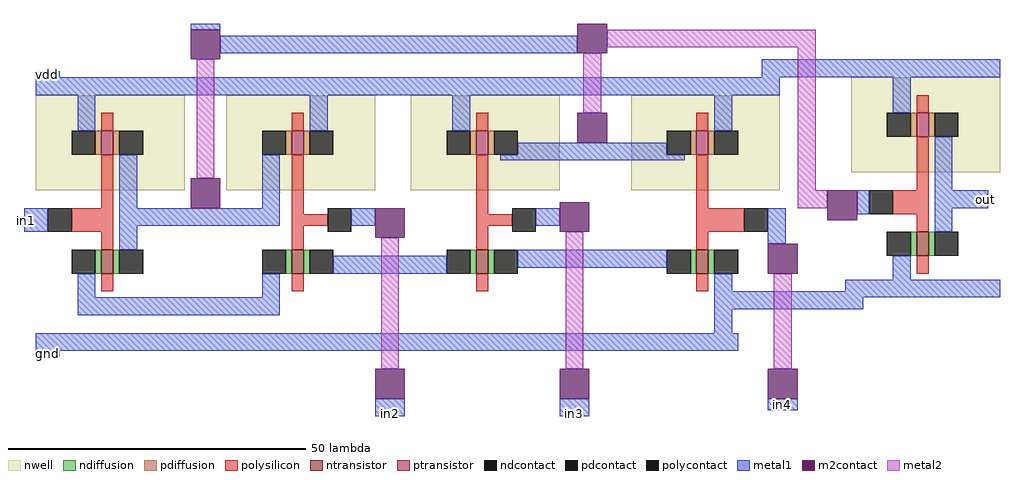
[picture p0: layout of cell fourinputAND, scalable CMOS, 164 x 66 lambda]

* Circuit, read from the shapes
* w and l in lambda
.subckt fourinputAND gnd in1 in2 in3 in4 out vdd
M1 not_0/in in1 n1 VSUBS nfet w=4 l=2
M2 n2 in2 n1 VSUBS nfet w=4 l=2
M3 n3 in3 n2 VSUBS nfet w=4 l=2
M4 gnd in4 n3 VSUBS nfet w=4 l=2
M5 out not_0/in gnd VSUBS nfet w=4 l=2
M6 not_0/in in1 vdd n4 pfet w=4 l=2
M7 vdd in2 not_0/in n5 pfet w=4 l=2
M8 not_0/in in3 vdd n6 pfet w=4 l=2
M9 vdd in4 not_0/in n7 pfet w=4 l=2
M10 out not_0/in vdd n8 pfet w=4 l=2
.ends

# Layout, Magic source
magic
tech scmos
<< metal1 >>
rect 61 121 65 122
rect 183 121 198 124
rect 59 95 60 99
rect 186 95 187 99
rect 220 99 221 102
rect 184 93 187 95
rect 197 85 199 87
rect 178 82 200 85
rect 61 74 65 75
rect 184 65 189 67
rect 118 64 123 65
rect 149 64 154 65
<< m2contact >>
rect 194 97 199 102
rect 184 88 189 93
rect 184 67 189 72
<< metal2 >>
rect 157 126 192 129
rect 189 102 192 126
rect 189 99 194 102
rect 185 72 188 88
use not  not_0
transform 1 0 198 0 1 105
box 0 -21 25 19
use fourinputNAND  fourinputNAND_0
transform 1 0 61 0 1 102
box -1 -37 125 28
<< labels >>
rlabel metal1 61 121 65 122 3 vdd
rlabel metal1 61 74 65 75 3 gnd
rlabel metal1 59 95 60 99 3 in1
rlabel metal1 118 64 123 65 1 in2
rlabel metal1 149 64 154 65 1 in3
rlabel metal1 184 65 189 67 1 in4
rlabel metal1 220 99 221 102 7 out
<< end >>

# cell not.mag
magic
tech scmos
<< nwell >>
rect 0 0 25 16
<< ntransistor >>
rect 11 -14 13 -10
<< ptransistor >>
rect 11 6 13 10
<< ndiffusion >>
rect 10 -14 11 -10
rect 13 -14 14 -10
<< pdiffusion >>
rect 10 6 11 10
rect 13 6 14 10
<< ndcontact >>
rect 6 -14 10 -10
rect 14 -14 18 -10
<< pdcontact >>
rect 6 6 10 10
rect 14 6 18 10
<< polysilicon >>
rect 11 10 13 13
rect 11 -3 13 6
rect 7 -7 13 -3
rect 11 -10 13 -7
rect 11 -17 13 -14
<< polycontact >>
rect 3 -7 7 -3
<< metal1 >>
rect 0 16 25 19
rect 7 10 10 16
rect 14 -3 17 6
rect 1 -7 3 -3
rect 14 -6 22 -3
rect 14 -10 17 -6
rect 7 -18 10 -14
rect 1 -21 25 -18
<< labels >>
rlabel metal1 0 16 25 19 5 vdd
rlabel metal1 17 -6 22 -3 1 out
rlabel metal1 1 -7 3 -3 3 in
rlabel metal1 1 -21 25 -18 1 gnd
<< end >>

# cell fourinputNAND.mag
magic
tech scmos
<< nwell >>
rect 0 0 25 16
rect 32 0 57 16
rect 63 0 88 16
rect 100 0 125 16
<< ntransistor >>
rect 11 -14 13 -10
rect 43 -14 45 -10
rect 74 -14 76 -10
rect 111 -14 113 -10
<< ptransistor >>
rect 11 6 13 10
rect 43 6 45 10
rect 74 6 76 10
rect 111 6 113 10
<< ndiffusion >>
rect 10 -14 11 -10
rect 13 -14 14 -10
rect 42 -14 43 -10
rect 45 -14 46 -10
rect 73 -14 74 -10
rect 76 -14 77 -10
rect 110 -14 111 -10
rect 113 -14 114 -10
<< pdiffusion >>
rect 10 6 11 10
rect 13 6 14 10
rect 42 6 43 10
rect 45 6 46 10
rect 73 6 74 10
rect 76 6 77 10
rect 110 6 111 10
rect 113 6 114 10
<< ndcontact >>
rect 6 -14 10 -10
rect 14 -14 18 -10
rect 38 -14 42 -10
rect 46 -14 50 -10
rect 69 -14 73 -10
rect 77 -14 81 -10
rect 106 -14 110 -10
rect 114 -14 118 -10
<< pdcontact >>
rect 6 6 10 10
rect 14 6 18 10
rect 38 6 42 10
rect 46 6 50 10
rect 69 6 73 10
rect 77 6 81 10
rect 106 6 110 10
rect 114 6 118 10
<< polysilicon >>
rect 11 10 13 13
rect 43 10 45 13
rect 74 10 76 13
rect 111 10 113 13
rect 11 -3 13 6
rect 6 -7 13 -3
rect 11 -10 13 -7
rect 43 -4 45 6
rect 43 -6 49 -4
rect 43 -10 45 -6
rect 74 -4 76 6
rect 111 -3 113 6
rect 74 -6 80 -4
rect 74 -10 76 -6
rect 111 -7 119 -3
rect 111 -10 113 -7
rect 11 -17 13 -14
rect 43 -17 45 -14
rect 74 -17 76 -14
rect 111 -17 113 -14
<< polycontact >>
rect 2 -7 6 -3
rect 49 -7 53 -3
rect 80 -7 84 -3
rect 119 -7 123 -3
<< metal1 >>
rect 26 27 31 28
rect 31 23 91 26
rect 0 16 125 19
rect 7 10 10 16
rect 46 10 49 16
rect 70 10 73 16
rect 114 10 117 16
rect 81 6 106 8
rect 14 -3 17 6
rect 38 -3 41 6
rect 78 5 109 6
rect -1 -7 2 -3
rect 14 -6 41 -3
rect 14 -10 17 -6
rect 53 -6 57 -3
rect 84 -6 88 -3
rect 123 -7 125 -3
rect 50 -14 69 -11
rect 81 -13 106 -10
rect 7 -18 10 -14
rect 38 -18 41 -14
rect 7 -21 41 -18
rect 114 -24 117 -14
rect 0 -27 118 -24
rect 57 -37 62 -35
rect 88 -37 93 -35
<< m2contact >>
rect 26 22 31 27
rect 91 23 96 28
rect 91 8 96 13
rect 26 -3 31 2
rect 57 -8 62 -3
rect 88 -7 93 -2
rect 57 -35 62 -30
rect 88 -35 93 -30
<< metal2 >>
rect 27 2 30 22
rect 92 13 95 23
rect 58 -30 61 -8
rect 89 -30 92 -7
<< labels >>
rlabel metal1 0 16 57 19 5 vdd
rlabel metal1 0 -7 2 -3 3 in1
rlabel metal1 0 -27 50 -24 1 gnd
rlabel metal1 17 -6 41 -3 1 out
rlabel metal1 123 -7 125 -3 7 in4
rlabel metal1 57 -37 62 -35 1 in2
rlabel metal1 88 -37 93 -35 1 in3
rlabel metal1 26 27 31 28 5 out
<< end >>
